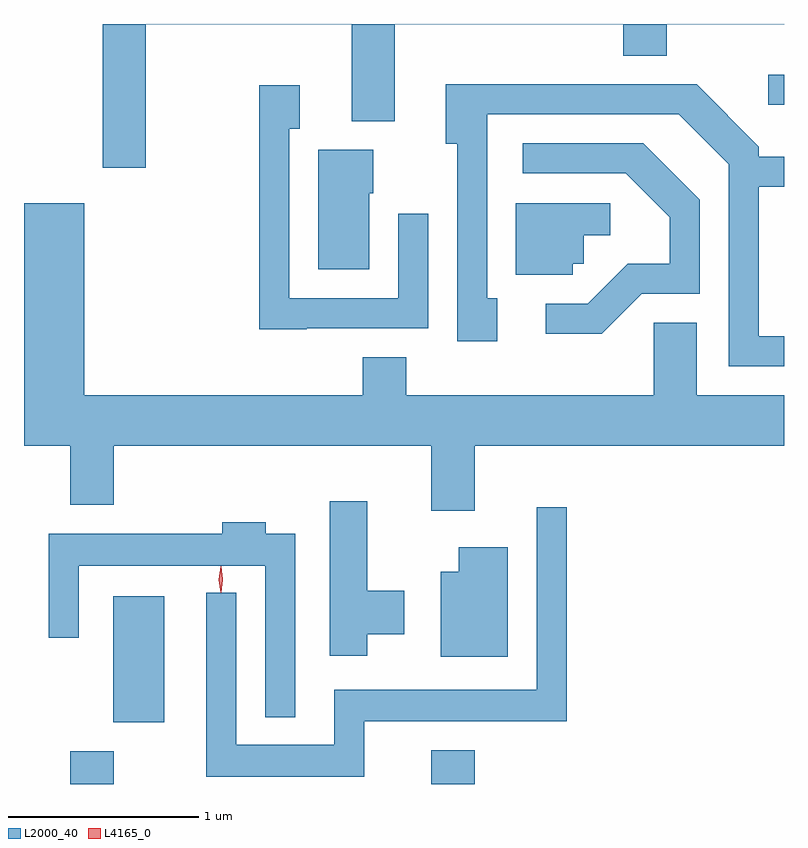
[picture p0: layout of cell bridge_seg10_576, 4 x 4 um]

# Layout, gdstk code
import gdstk
lib = gdstk.Library(unit=1e-6, precision=1e-09)
def R(c, l, rs):  # rectangles x0, y0, x1, y1
    for r in rs: c.add(gdstk.rectangle(r[:2], r[2:], *l))
def P(c, l, *ps):  # polygons
    for p in ps: c.add(gdstk.Polygon(p, *l))
L2000_40 = (2000, 40)
L4165_0 = (4165, 0)

bridge_seg10_576 = lib.new_cell('bridge_seg10_576')
R(bridge_seg10_576, L2000_40, [(842.561,2140.997,842.789,2141.169), (844.461,2140.997,844.689,2141.174), (842.786,2141.321,843.054,2141.984), (846.233,2144.571,846.317,2144.729)])
P(bridge_seg10_576, L2000_40, [(842.959,2144.996),(844.041,2144.996),(844.041,2144.486),(844.269,2144.486),(844.269,2144.996),(845.471,2144.996),(845.471,2144.831),(845.699,2144.831),(845.699,2144.996),(846.317,2144.996),(846.317,2144.997),(842.317,2144.997),(842.317,2144.996),(842.731,2144.996),(842.731,2144.241),(842.959,2144.241)],
  [(846.317,2143.354),(846.184,2143.354),(846.184,2144.141),(846.317,2144.141),(846.317,2144.299),(846.184,2144.299),(846.184,2144.352),(845.857,2144.679),(844.536,2144.679),(844.536,2144.366),(844.596,2144.366),(844.596,2143.326),(844.809,2143.326),(844.809,2143.554),(844.754,2143.554),(844.754,2144.521),(845.764,2144.521),(846.026,2144.259),(846.026,2143.196),(846.317,2143.196)],
  [(843.805,2143.396),(844.444,2143.396),(844.444,2143.998),(844.286,2143.998),(844.286,2143.554),(843.714,2143.554),(843.714,2144.446),(843.769,2144.446),(843.769,2144.674),(843.556,2144.674),(843.556,2143.391),(843.805,2143.391)],
  [(845.567,2143.576),(845.874,2143.576),(845.874,2144.072),(845.577,2144.369),(844.943,2144.369),(844.943,2144.211),(845.484,2144.211),(845.716,2143.979),(845.716,2143.734),(845.494,2143.734),(845.284,2143.524),(845.063,2143.524),(845.063,2143.366),(845.357,2143.366)],
  [(844.134,2144.106),(844.154,2144.106),(844.154,2144.334),(843.866,2144.334),(843.866,2143.706),(844.134,2143.706)],
  [(845.204,2143.736),(845.264,2143.736),(845.264,2143.886),(845.403,2143.886),(845.403,2144.054),(844.906,2144.054),(844.906,2143.676),(845.204,2143.676)],
  [(844.689,2142.776),(846.317,2142.776),(846.317,2143.044),(845.859,2143.044),(845.859,2143.424),(845.631,2143.424),(845.631,2143.044),(844.329,2143.044),(844.329,2143.244),(844.101,2143.244),(844.101,2143.044),(842.634,2143.044),(842.634,2144.054),(842.317,2144.054),(842.317,2142.776),(842.561,2142.776),(842.561,2142.466),(842.789,2142.466),(842.789,2142.776),(844.461,2142.776),(844.461,2142.436),(844.689,2142.436)],
  [(844.124,2141.786),(844.319,2141.786),(844.319,2142.014),(844.124,2142.014),(844.124,2142.484),(843.926,2142.484),(843.926,2141.671),(844.124,2141.671)],
  [(844.109,2141.326),(845.174,2141.326),(845.174,2142.453),(845.016,2142.453),(845.016,2141.494),(843.951,2141.494),(843.951,2141.204),(843.434,2141.204),(843.434,2142.003),(843.276,2142.003),(843.276,2141.036),(844.109,2141.036)],
  [(843.744,2142.314),(843.589,2142.314),(843.589,2142.374),(843.361,2142.374),(843.361,2142.314),(842.446,2142.314),(842.446,2141.768),(842.604,2141.768),(842.604,2142.146),(843.586,2142.146),(843.586,2141.348),(843.744,2141.348)],
  [(844.864,2142.244),(844.606,2142.244),(844.606,2142.114),(844.511,2142.114),(844.511,2141.666),(844.864,2141.666)])
P(bridge_seg10_576, L4165_0, [(843.353,2142.004),(843.353,2142.004),(843.343,2142.073),(843.353,2142.142),(843.353,2142.143),(843.354,2142.142),(843.363,2142.073),(843.354,2142.004)],
  [(843.354,2142.007),(843.354,2142.008),(843.344,2142.074),(843.354,2142.14),(843.354,2142.14),(843.355,2142.14),(843.364,2142.074),(843.355,2142.008)])

lib.write_gds('bridge_seg10_576.gds')
